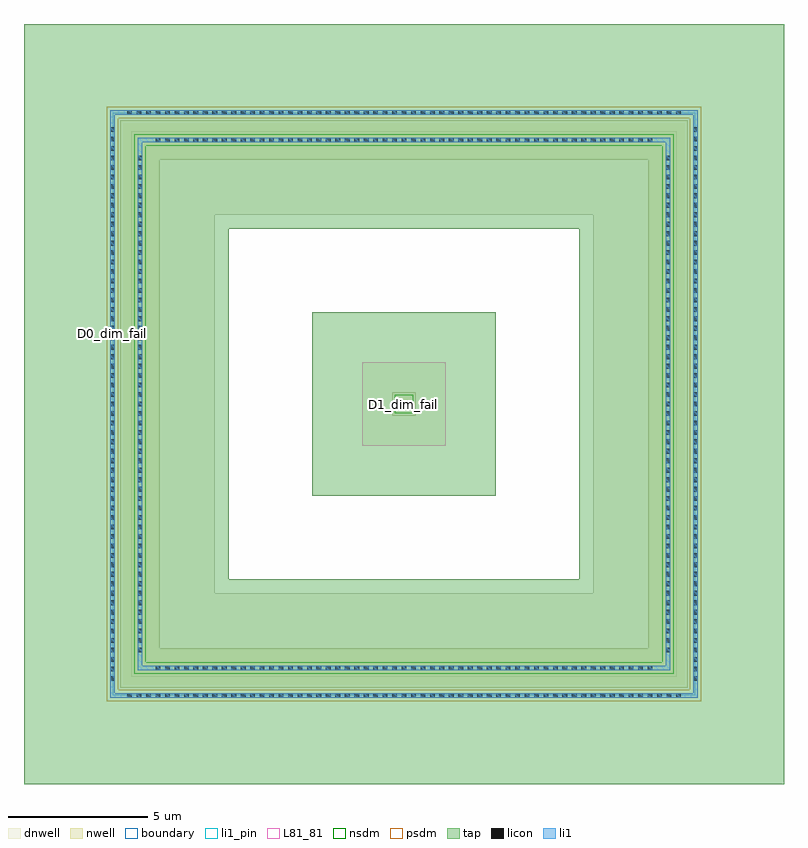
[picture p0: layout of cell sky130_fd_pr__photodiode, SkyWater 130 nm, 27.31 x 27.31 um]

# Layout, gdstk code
import gdstk
lib = gdstk.Library(unit=1e-6, precision=1e-09)
def R(c, l, rs):  # rectangles x0, y0, x1, y1
    for r in rs: c.add(gdstk.rectangle(r[:2], r[2:], *l))
def A(c, l, x, y, w, h, nx, ny, dx, dy):  # array of equal rectangles
    R(c, l, [(x+i*dx, y+j*dy, x+i*dx+w, y+j*dy+h) for i in range(nx) for j in range(ny)])
def P(c, l, *ps):  # polygons
    for p in ps: c.add(gdstk.Polygon(p, *l))
dnwell = (64, 18)
nwell = (64, 20)
tap = (65, 44)
licon = (66, 44)
li1_pin = (67, 16)
li1 = (67, 20)
L81_81 = (81, 81)
nsdm = (93, 44)
psdm = (94, 20)
boundary = (235, 4)

sky130_fd_pr__photodiode = lib.new_cell('sky130_fd_pr__photodiode')
R(sky130_fd_pr__photodiode, dnwell, [(-2.72,-2.725,16.88,0.275), (-2.72,0.275,0.28,13.875), (13.88,0.275,16.88,13.875), (5.58,5.575,8.58,8.575), (-2.72,13.875,16.88,16.875)])
R(sky130_fd_pr__photodiode, nwell, [(-3.12,-3.125,17.28,-1.695), (-3.12,-1.695,-1.69,15.845), (15.85,-1.695,17.28,15.845), (6.66,6.655,7.5,7.495), (-3.12,15.845,17.28,17.275)])
R(sky130_fd_pr__photodiode, tap, [(3.775,3.77,10.385,10.38)])
P(sky130_fd_pr__photodiode, tap, [(-5.59,-5.595),(-5.59,13.375),(0.78,13.375),(0.78,0.775),(13.38,0.775),(13.38,13.375),(-5.59,13.375),(-5.59,19.745),(19.75,19.745),(19.75,-5.595)],
  [(-6.575,-6.58),(-6.575,14.36),(-0.205,14.36),(-0.205,-0.21),(14.365,-0.21),(14.365,14.36),(-6.575,14.36),(-6.575,20.73),(20.735,20.73),(20.735,-6.58)])
A(sky130_fd_pr__photodiode, licon, -2.865, -3.48, 0.17, 0.17, 59, 2, 0.34, 20.94)
A(sky130_fd_pr__photodiode, licon, -3.475, -2.87, 0.17, 0.17, 1, 59, 0, 0.34)
A(sky130_fd_pr__photodiode, licon, 17.465, -2.87, 0.17, 0.17, 1, 59, 0, 0.34)
A(sky130_fd_pr__photodiode, licon, -1.845, -2.495, 0.17, 0.17, 53, 2, 0.34, 18.97)
A(sky130_fd_pr__photodiode, licon, -2.49, -1.85, 0.17, 0.17, 1, 26, 0, 0.34)
A(sky130_fd_pr__photodiode, licon, 16.48, -1.85, 0.17, 0.17, 1, 26, 0, 0.34)
A(sky130_fd_pr__photodiode, licon, -2.49, 6.99, 0.17, 0.17, 3, 1, 9.485, 0)
A(sky130_fd_pr__photodiode, licon, -2.49, 7.33, 0.17, 0.17, 1, 26, 0, 0.34)
A(sky130_fd_pr__photodiode, licon, 16.48, 7.33, 0.17, 0.17, 1, 26, 0, 0.34)
R(sky130_fd_pr__photodiode, li1_pin, [(7.033,7.023,7.134,7.138), (-3.436,9.571,-3.335,9.686)])
R(sky130_fd_pr__photodiode, li1, [(-3.475,-3.48,17.635,-3.31), (-3.475,-3.31,-3.305,17.46), (17.465,-3.31,17.635,17.46), (-2.49,-2.495,16.65,-2.325), (-2.49,-2.325,-2.32,16.475), (16.48,-2.325,16.65,16.475), (6.915,6.99,7.245,7.16), (-2.49,16.475,16.65,16.645), (-3.475,17.46,17.635,17.63)])
R(sky130_fd_pr__photodiode, L81_81, [(5.58,5.575,8.58,8.575)])
R(sky130_fd_pr__photodiode, nsdm, [(-2.615,-2.62,16.775,-2.2), (-2.615,-2.2,-2.195,16.35), (16.355,-2.2,16.775,16.35), (6.75,6.745,7.41,7.405), (-2.615,16.35,16.775,16.77)])
R(sky130_fd_pr__photodiode, psdm, [(-3.6,-3.605,17.76,-3.185), (-3.6,-3.185,-3.18,17.335), (17.34,-3.185,17.76,17.335), (-3.6,17.335,17.76,17.755)])
R(sky130_fd_pr__photodiode, boundary, [(-3.39,-3.395,17.55,17.545)])
sky130_fd_pr__photodiode.add(gdstk.Label('D0_dim_fail', (-3.395,9.617), layer=67, texttype=5))
sky130_fd_pr__photodiode.add(gdstk.Label('D1_dim_fail', (7.074,7.069), layer=67, texttype=5))

lib.write_gds('sky130_fd_pr__photodiode.gds')
